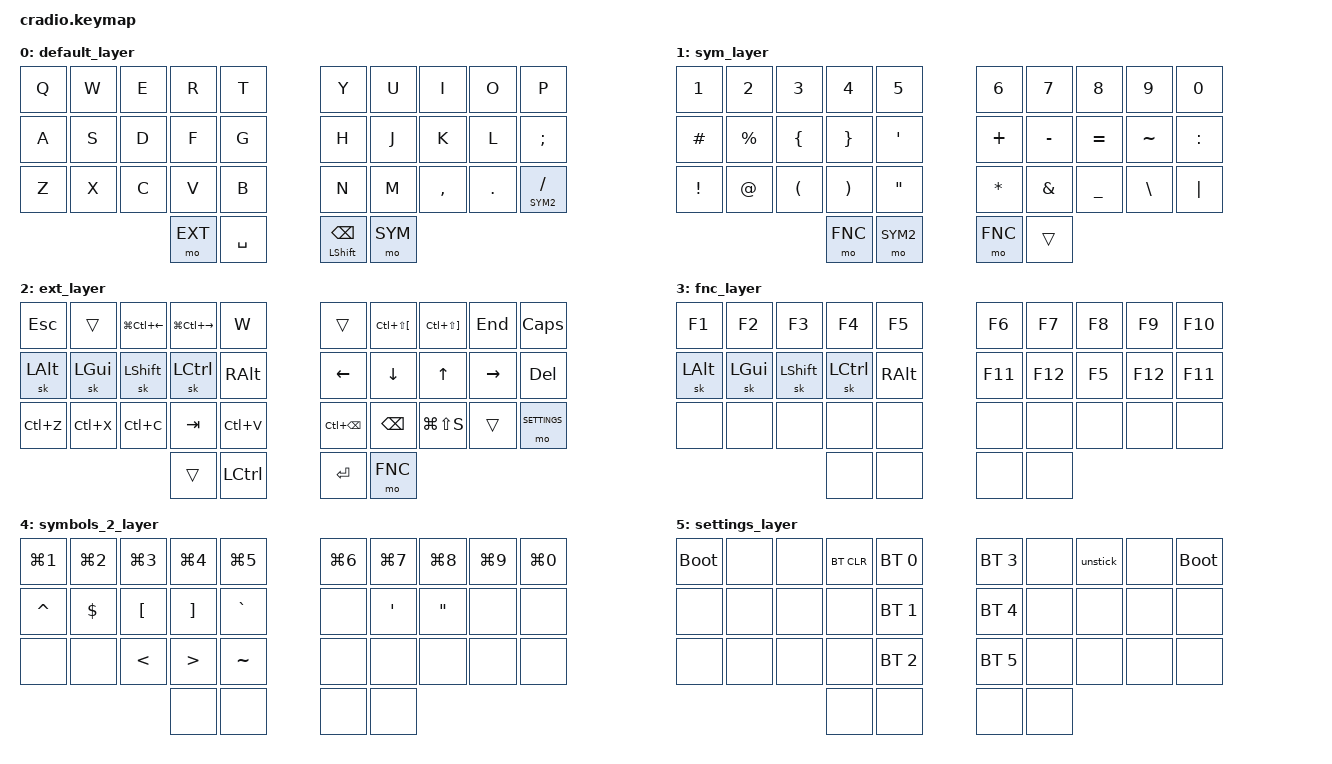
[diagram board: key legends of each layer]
// Copyright (c) 2022 The ZMK Contributors
// SPDX-License-Identifier: MIT

#include <behaviors.dtsi>
#include <dt-bindings/zmk/keys.h>
#include <dt-bindings/zmk/bt.h>

#define BASE 0
#define SYM 1
#define EXT 2
#define FNC 3
#define SYM2 4
#define SETTINGS 5

#define VDESKL LG(LC(LEFT))
#define VDESKR LG(LC(RIGHT))
#define TERML LC(LS(LBKT))
#define TERMR LC(LS(RBKT))
#define WDEL LC(BSPC)
#define SCSHT LG(LS(S))

&mt {
    //  flavor = "tap-preferred";
    // tapping_term_ms = <200>;
};

&sk {
    ignore-modifiers;
};

/ {
    macros {
	// sometimes my device thinks a modifier is being held down
	// pressing all modifiers fixes it.
	unstick: unstick {
	    label = "ZM_unstick";
	    compatible = "zmk,behavior-macro";
	    #binding-cells = <0>;
	    bindings
		= <&kp LSHIFT &kp RSHIFT &kp LCTRL &kp RCTRL &kp LALT &kp RALT &kp LGUI &kp RGUI>;
	};
    };

    combos {
	compatible = "zmk,combos";
	// internal-left & external-right thumb keys
	combo_sym2 {
	    timeout-ms = <200>;
	    key-positions = <31 33>;
	    bindings = <&mo SYM2>;
	};
	// both left thumb keys
	combo_settings {
	    timeout-ms = <300>;
	    key-positions = <30 31>;
	    bindings = <&mo SETTINGS>;
	};
	combo_fnc {
	    timeout-ms = <300>;
	    key-positions = <33 34>;
	    bindings = <&mo FNC>;
	};
    };

    keymap {
	compatible = "zmk,keymap";

	// Base alpha layer
	default_layer {
	    bindings = <
		&kp Q	    &kp W	&kp E	    &kp R	&kp T		&kp Y	    &kp U	&kp I	    &kp O	&kp P
		&kp A	    &kp S	&kp D	    &kp F	&kp G		&kp H	    &kp J	&kp K	    &kp L	&kp SEMI
		&kp Z	    &kp X	&kp C	    &kp V	&kp B		&kp N	    &kp M	&kp COMMA   &kp DOT	&lt SYM2 FSLH
						    &mo EXT	&kp SPACE	&mt LSHIFT BSPC &mo SYM
	    >;
	};

	// Numbers and high frequency symbols
	sym_layer {
	    bindings = <
		&kp N1	    &kp N2    &kp N3	    &kp N4	&kp N5		&kp N6	    &kp N7	&kp N8	    &kp N9	&kp N0
		&kp HASH    &kp PRCNT &kp LBRC	    &kp RBRC	&kp SQT		&kp PLUS    &kp MINUS	&kp EQL	    &kp TILDE	&kp COLON
		&kp EXCL    &kp AT    &kp LPAR	    &kp RPAR	&kp DQT		&kp ASTRK   &kp AMPS	&kp UNDER   &kp BSLH	&kp PIPE
						    &mo FNC	&mo SYM2	&mo FNC	    &trans
		>;
		};

	// Main modifiers and arrow keys
	ext_layer {
	    bindings = <
		&kp ESC	    &trans	&kp VDESKL  &kp VDESKR	&kp W		&trans	    &kp TERML	&kp TERMR   &kp END	&kp CAPS
		&sk LALT    &sk LGUI	&sk LSHIFT  &sk LCTRL	&kp RALT	&kp LEFT    &kp DOWN	&kp UP	    &kp RIGHT	&kp DEL
		&kp LC(Z)   &kp LC(X)	&kp LC(C)   &kp TAB	&kp LC(V)	&kp WDEL    &kp BSPC	&kp SCSHT   &trans	&mo SETTINGS
						    &trans	&kp LCTRL	&kp ENTER   &mo FNC
	    >;
	};

	// Function keys with modifiers
	fnc_layer {
	    bindings = <
		&kp F1	    &kp F2	&kp F3	    &kp F4	&kp F5		&kp F6	    &kp F7	&kp F8	    &kp F9	&kp F10
		&sk LALT    &sk LGUI	&sk LSHIFT  &sk LCTRL	&kp RALT	&kp F11	    &kp F12	&kp F5	    &kp F12	&kp F11
		&none	    &none	&none	    &none	&none		&none	    &none	&none	    &none	&none
						    &none	&none		&none	    &none
	    >;
	};

	// Low frequency symbols.
	symbols_2_layer {
	    bindings = <
		&kp LG(1)   &kp LG(2)	&kp LG(3)   &kp LG(4)	&kp LG(5)	&kp LG(6)   &kp LG(7)	&kp LG(8)   &kp LG(9)	&kp LG(0)
		&kp CARET   &kp DOLLAR	&kp LBKT    &kp RBKT	&kp GRAVE	&none	    &kp SQT	&kp DQT	    &none	&none
		&none	    &none	&kp LT	    &kp GT	&kp TILDE	&none	    &none	&none	    &none	&none
						    &none	&none		&none	    &none
	    >;
	};

	// Used to change the keyboard's settings.
	settings_layer {
	    bindings = <
		&bootloader &none	&none	    &bt BT_CLR	&bt BT_SEL 0	&bt BT_SEL 3 &none	&unstick    &none	&bootloader
		&none	    &none	&none	    &none	&bt BT_SEL 1	&bt BT_SEL 4 &none	&none	    &none	&none
		&none	    &none	&none	    &none	&bt BT_SEL 2	&bt BT_SEL 5 &none	&none	    &none	&none
						    &none	&none		&none	     &none
	    >;
	};

    };
};
